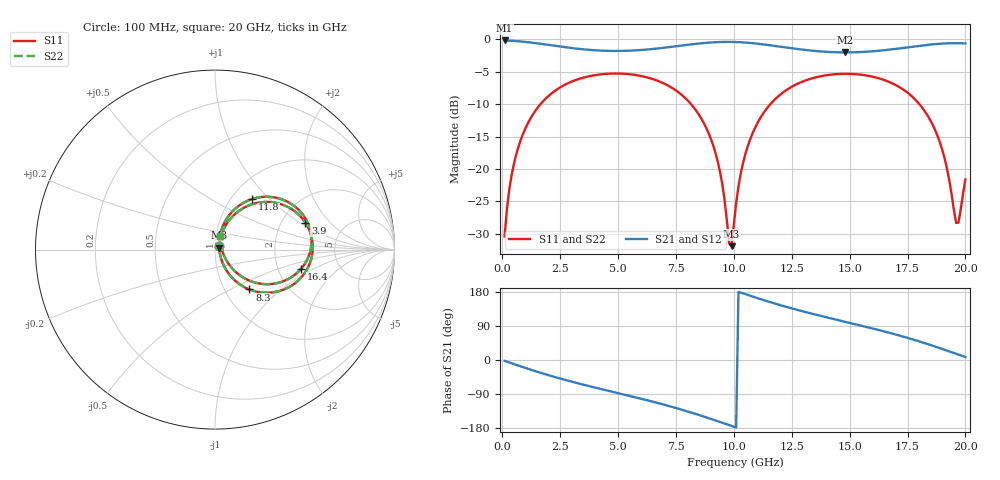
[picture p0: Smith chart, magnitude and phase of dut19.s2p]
! Touchstone file exported from HFSS 2026.1.0
!  File:  C:/ffzhzh/LocalFiles/Ansys_Project_Files/temp_test_TSV_RDL_19_1782980906_6388.aedt
!  Generated:  04:39:15 PM Jul  2, 2026
!  Design:  TSV_RDL
!  Project:  temp_test_TSV_RDL_19_1782980906_6388
! Variables:
!  h_bsmrdl = 5.6um
!  h_ox = 20um
!  h_rdl = 5um
!  h_sub = 67.95um
!  h_tmrdl = 4.07um
!  h_tsv = 67.95um
!  h_via = 3um
!  l_bsmrdl = 830.01um
!  l_sub = 6055.34um
!  l_tmrdl = 754.9um
!  m_sub = 200um
!  pitch = 58.25um
!  r_tsv = 13.45um
!  s_tmrdl = 10um
!  w_bsmrdl = 29.22um
!  w_sub = 500um
!  w_tmrdl = 19.35um
!  x_tsv_center1 = 764.575um
!  x_tsv_center2 = 1623.805um
!  x_tsv_center3 = 2398.055um
!  x_tsv_center4 = 3257.285um
!  x_tsv_center5 = 4031.535um
!  x_tsv_center6 = 4890.765um
# GHz S MA R 50.000000
! Terminal data exported
! Port[1] = TM_RDL1_1_T1
! Port[2] = TM_RDL5_1_T1
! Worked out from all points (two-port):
!   200 points, 100 MHz to 20 GHz, reference 50 ohm
!   highest |S21| = -0.18 dB at 100 MHz (marker M1); lowest = -2.0 dB at 14.8 GHz (marker M2)
!   |S21| within 3 dB of the highest: start of sweep to end of sweep
!   lowest |S11| = -31.9 dB at 9.9 GHz (marker M3), VSWR 1.05, Z = 52.4 + j1.1 ohm
!   |S11| at or under -10 dB: start of sweep to 1.65 GHz; 8.152 GHz to 11.58 GHz (3.426 GHz wide, 34.7 % of centre); 18.01 GHz to end of sweep
!   |S22| runs from -31.8 to -5.3 dB; largest |S21 - S12| = 1.2e-14
!   S11 on the Smith chart (normalised r, x): 100 MHz: 1.04, +0.05; 3.9 GHz: 2.70, +1.11; 8.3 GHz: 1.30, -0.63; 11.8 GHz: 1.24, +0.79; 16.4 GHz: 2.70, -0.75; 20 GHz: 1.04, +0.16
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0.1  0.03021 46.7  0.9799 -2.2  0.9799 -2.2  0.03021 46.7
! Gamma 0 0 0 0
! Port Impedance 50 0 50 0
0.5  0.1093 67.2  0.9715 -10.7  0.9715 -10.7  0.1093 67.2
1.1  0.2244 60.9  0.9506 -23.0  0.9506 -23.0  0.2244 60.9
3.5  0.5065 22.4  0.8371 -65.1  0.8371 -65.1  0.5065 22.4
3.9  0.5257 16.5  0.8256 -71.2  0.8256 -71.2  0.5257 16.5
6.8  0.4718 -25.1  0.8534 -114.8  0.8534 -114.8  0.4718 -25.1
8.3  0.2936 -49.2  0.9203 -141.3  0.9203 -141.3  0.2935 -49.2
9.2  0.1342 -61.1  0.9498 -159.3  0.9498 -159.3  0.1342 -61.0
9.5  0.07639 -59.2  0.9541 -165.5  0.9541 -165.5  0.0764 -59.0
9.8  0.02661 -19.6  0.9551 -171.8  0.9551 -171.8  0.02682 -19.2
9.9  0.02542 24.4  0.9546 -173.9  0.9546 -173.9  0.0257 24.3
10.1  0.05476 64.5  0.9525 -178.0  0.9525 -178.0  0.05495 64.3
10.7  0.1686 70.2  0.9375 169.6  0.9375 169.6  0.1687 70.2
11.8  0.3479 53.9  0.8878 148.5  0.8878 148.5  0.348 53.9
13.4  0.5015 29.4  0.8166 121.8  0.8166 121.8  0.5016 29.4
14.8  0.5421 9.9  0.7927 101.0  0.7927 101.0  0.5421 9.9
16.4  0.492 -12.4  0.8206 76.9  0.8206 76.9  0.492 -12.5
16.7  0.4699 -16.8  0.8318 72.1  0.8318 72.1  0.4699 -16.9
18.6  0.2169 -45.0  0.9152 37.4  0.9152 37.4  0.2169 -45.0
19.1  0.1213 -47.0  0.9288 27.0  0.9288 27.0  0.1212 -47.1
19.6  0.03845 -0.7  0.9332 16.4  0.9332 16.4  0.03839 -0.7
20  0.08307 70.3  0.9292 7.9  0.9292 7.9  0.08306 70.3
